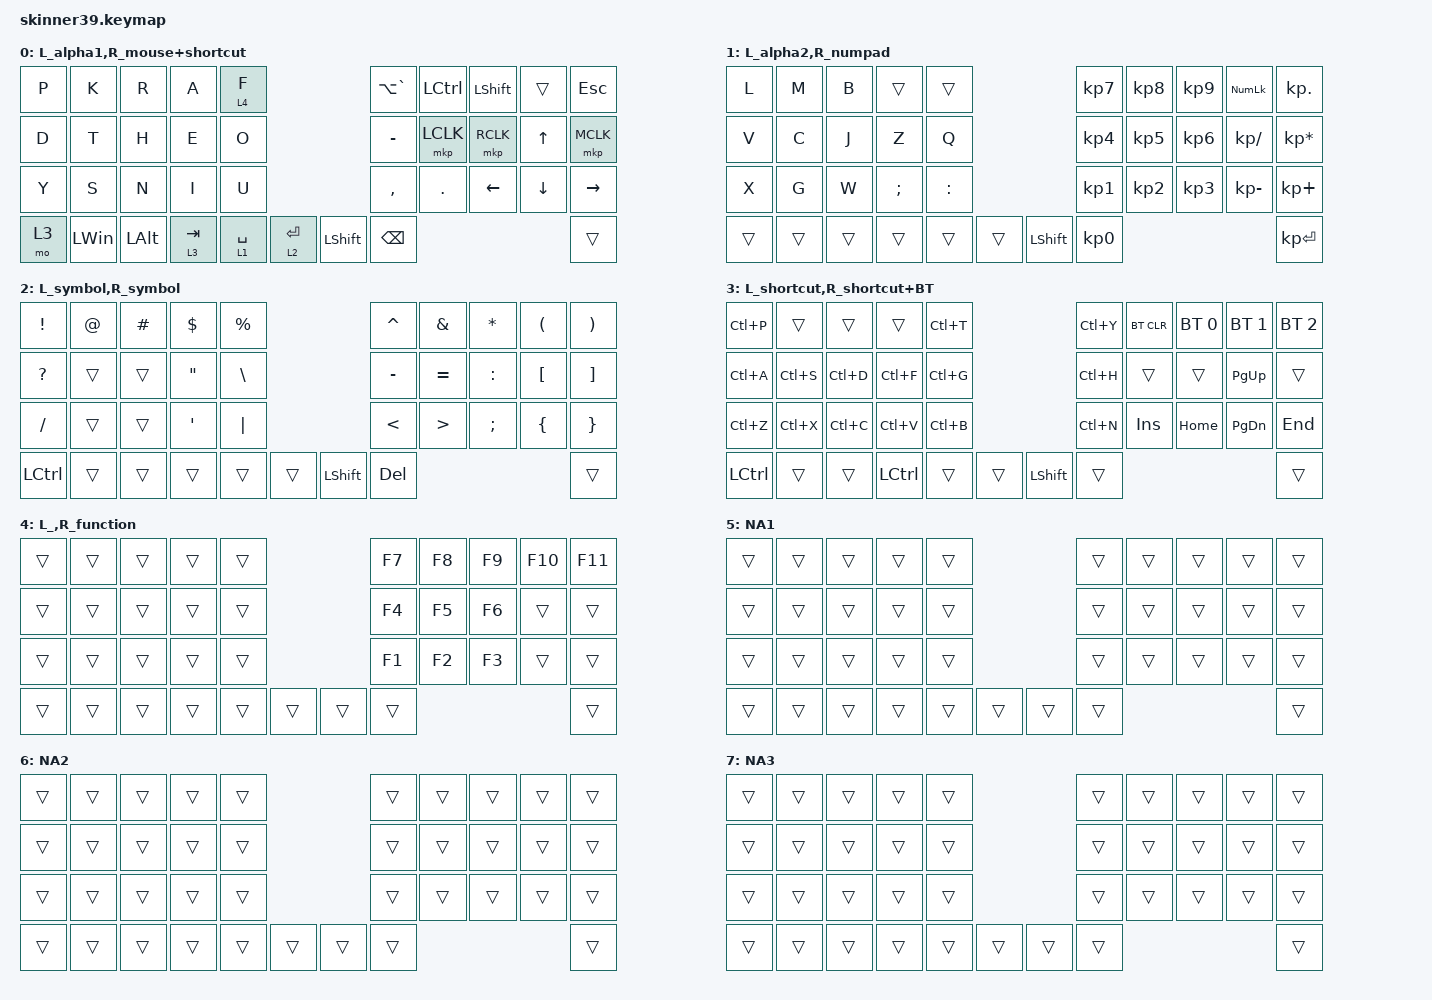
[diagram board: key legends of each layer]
#include <behaviors.dtsi>
#include <dt-bindings/zmk/bt.h>
#include <dt-bindings/zmk/keys.h>
#include <dt-bindings/zmk/pointing.h>

/ {
    keymap {
        compatible = "zmk,keymap";

        L_alpha1,R_mouse+shortcut {
            bindings = <
  &kp P  &kp K         &kp R         &kp A      &lt 4 F                                   &kp LA(GRAVE)  &kp LEFT_CONTROL  &kp LEFT_SHIFT  &trans    &kp ESC
  &kp D  &kp T         &kp H         &kp E      &kp O                                     &kp MINUS      &mkp LCLK         &mkp RCLK       &kp UP    &mkp MCLK
  &kp Y  &kp S         &kp N         &kp I      &kp U                                     &kp COMMA      &kp PERIOD        &kp LEFT        &kp DOWN  &kp RIGHT
  &mo 3  &kp LEFT_WIN  &kp LEFT_ALT  &lt 3 TAB  &lt 1 SPACE  &lt 2 ENTER  &kp LEFT_SHIFT  &kp BACKSPACE                                              &trans
            >;
        };

        L_alpha2,R_numpad {
            bindings = <
  &kp L   &kp M   &kp B   &trans         &trans                             &kp KP_N7  &kp KP_N8  &kp KP_N9  &kp KP_NUM     &kp KP_DOT
  &kp V   &kp C   &kp J   &kp Z          &kp Q                              &kp KP_N4  &kp KP_N5  &kp KP_N6  &kp KP_DIVIDE  &kp KP_MULTIPLY
  &kp X   &kp G   &kp W   &kp SEMICOLON  &kp COLON                          &kp KP_N1  &kp KP_N2  &kp KP_N3  &kp KP_MINUS   &kp KP_PLUS
  &trans  &trans  &trans  &trans         &trans     &trans  &kp LEFT_SHIFT  &kp KP_N0                                       &kp KP_ENTER
            >;
        };

        L_symbol,R_symbol {
            bindings = <
  &kp EXCL          &kp AT  &kp HASH  &kp DLLR           &kp PRCNT                          &kp CARET  &kp AMPS   &kp STAR   &kp LPAR  &kp RPAR
  &kp QMARK         &trans  &trans    &kp DOUBLE_QUOTES  &kp BACKSLASH                      &kp MINUS  &kp EQUAL  &kp COLON  &kp LBKT  &kp RBKT
  &kp FSLH          &trans  &trans    &kp SINGLE_QUOTE   &kp PIPE                           &kp LT     &kp GT     &kp SEMI   &kp LBRC  &kp RBRC
  &kp LEFT_CONTROL  &trans  &trans    &trans             &trans         &trans  &kp LSHIFT  &kp DEL                                    &trans
            >;
        };

        L_shortcut,R_shortcut+BT {
            bindings = <
  &kp LC(P)         &trans     &trans     &trans            &kp LC(T)                          &kp LC(Y)  &bt BT_CLR  &bt BT_SEL 0  &bt BT_SEL 1   &bt BT_SEL 2
  &kp LC(A)         &kp LC(S)  &kp LC(D)  &kp LC(F)         &kp LC(G)                          &kp LC(H)  &trans      &trans        &kp PAGE_UP    &trans
  &kp LC(Z)         &kp LC(X)  &kp LC(C)  &kp LC(V)         &kp LC(B)                          &kp LC(N)  &kp INS     &kp HOME      &kp PAGE_DOWN  &kp END
  &kp LEFT_CONTROL  &trans     &trans     &kp LEFT_CONTROL  &trans     &trans  &kp LEFT_SHIFT  &trans                                              &trans
            >;
        };

        L_,R_function {
            bindings = <
  &trans  &trans  &trans  &trans  &trans                  &kp F7  &kp F8  &kp F9  &kp F10  &kp F11
  &trans  &trans  &trans  &trans  &trans                  &kp F4  &kp F5  &kp F6  &trans   &trans
  &trans  &trans  &trans  &trans  &trans                  &kp F1  &kp F2  &kp F3  &trans   &trans
  &trans  &trans  &trans  &trans  &trans  &trans  &trans  &trans                           &trans
            >;
        };

        NA1 {
            bindings = <
  &trans  &trans  &trans  &trans  &trans                  &trans  &trans  &trans  &trans  &trans
  &trans  &trans  &trans  &trans  &trans                  &trans  &trans  &trans  &trans  &trans
  &trans  &trans  &trans  &trans  &trans                  &trans  &trans  &trans  &trans  &trans
  &trans  &trans  &trans  &trans  &trans  &trans  &trans  &trans                          &trans
            >;
        };

        NA2 {
            bindings = <
  &trans  &trans  &trans  &trans  &trans                  &trans  &trans  &trans  &trans  &trans
  &trans  &trans  &trans  &trans  &trans                  &trans  &trans  &trans  &trans  &trans
  &trans  &trans  &trans  &trans  &trans                  &trans  &trans  &trans  &trans  &trans
  &trans  &trans  &trans  &trans  &trans  &trans  &trans  &trans                          &trans
            >;
        };

        NA3 {
            bindings = <
  &trans  &trans  &trans  &trans  &trans                  &trans  &trans  &trans  &trans  &trans
  &trans  &trans  &trans  &trans  &trans                  &trans  &trans  &trans  &trans  &trans
  &trans  &trans  &trans  &trans  &trans                  &trans  &trans  &trans  &trans  &trans
  &trans  &trans  &trans  &trans  &trans  &trans  &trans  &trans                          &trans
            >;
        };
    };
};
